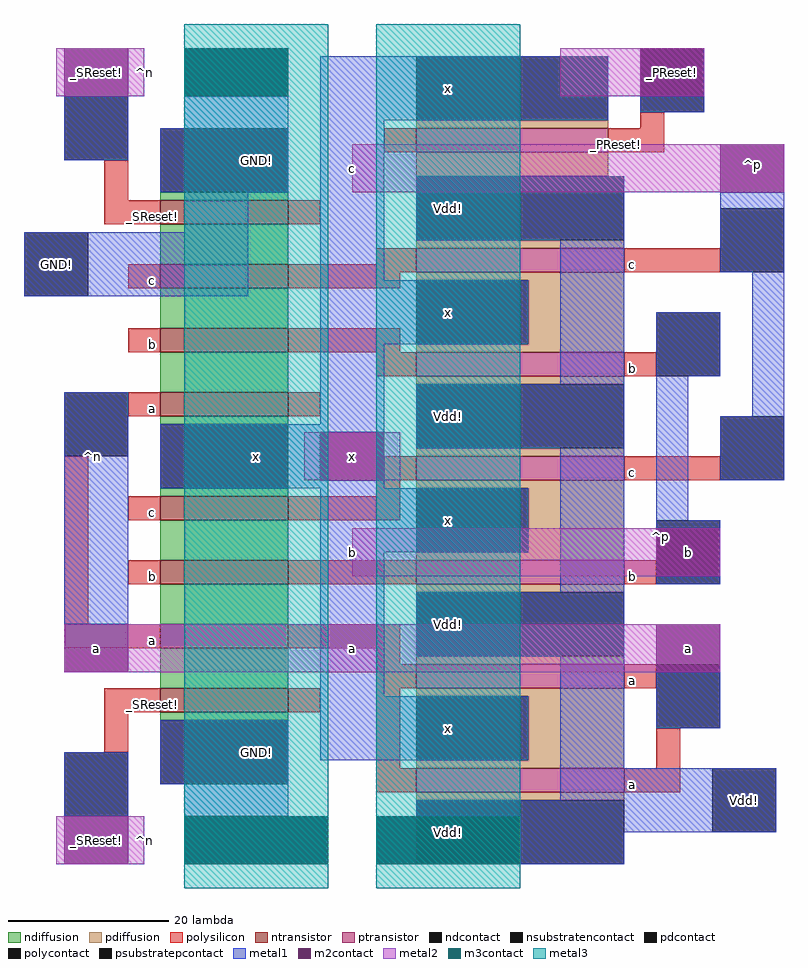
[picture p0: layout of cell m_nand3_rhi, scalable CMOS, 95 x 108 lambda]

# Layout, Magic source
magic
tech scmos
<< ndiffusion >>
rect -24 77 -8 78
rect -24 69 -8 74
rect -24 61 -8 66
rect -24 53 -8 58
rect -24 49 -8 50
rect -24 40 -8 41
rect -24 32 -8 37
rect -24 24 -8 29
rect -24 16 -8 21
rect -24 12 -8 13
<< pdiffusion >>
rect 8 86 32 87
rect 8 80 32 83
rect 8 71 34 72
rect 8 67 34 68
rect 22 59 34 67
rect 8 58 34 59
rect 8 54 34 55
rect 8 45 34 46
rect 8 41 34 42
rect 22 33 34 41
rect 8 32 34 33
rect 8 28 34 29
rect 8 19 34 20
rect 8 15 34 16
rect 22 7 34 15
rect 8 6 34 7
rect 8 2 34 3
<< ntransistor >>
rect -24 74 -8 77
rect -24 66 -8 69
rect -24 58 -8 61
rect -24 50 -8 53
rect -24 37 -8 40
rect -24 29 -8 32
rect -24 21 -8 24
rect -24 13 -8 16
<< ptransistor >>
rect 8 83 32 86
rect 8 68 34 71
rect 8 55 34 58
rect 8 42 34 45
rect 8 29 34 32
rect 8 16 34 19
rect 8 3 34 6
<< polysilicon >>
rect 36 86 39 88
rect -31 77 -28 82
rect 4 83 8 86
rect 32 83 39 86
rect -31 74 -24 77
rect -8 74 -4 77
rect 3 69 8 71
rect -28 66 -24 69
rect -8 68 8 69
rect 34 68 46 71
rect -8 66 6 68
rect -28 58 -24 61
rect -8 58 6 61
rect 3 55 8 58
rect 34 55 38 58
rect -28 50 -24 53
rect -8 50 -4 53
rect -36 24 -33 45
rect 3 42 8 45
rect 34 42 46 45
rect 3 40 6 42
rect -28 37 -24 40
rect -8 37 6 40
rect -28 29 -24 32
rect -8 29 8 32
rect 34 29 38 32
rect -36 21 -24 24
rect -8 21 6 24
rect 3 19 6 21
rect 3 16 8 19
rect 34 16 38 19
rect -31 13 -24 16
rect -8 13 -4 16
rect -31 8 -28 13
rect 3 6 6 16
rect 38 6 41 11
rect 3 3 8 6
rect 34 3 41 6
<< ndcontact >>
rect -24 78 -8 86
rect -24 41 -8 49
rect -24 4 -8 12
<< pdcontact >>
rect 8 87 32 95
rect 8 72 34 80
rect 8 59 22 67
rect 8 46 34 54
rect 8 33 22 41
rect 8 20 34 28
rect 8 7 22 15
rect 8 -6 34 2
<< psubstratepcontact >>
rect -41 65 -33 73
<< nsubstratencontact >>
rect 45 -2 53 6
<< polycontact >>
rect -36 82 -28 90
rect 36 88 44 96
rect 46 68 54 76
rect 38 55 46 63
rect -36 45 -28 53
rect 46 42 54 50
rect 38 29 46 37
rect -36 0 -28 8
rect 38 11 46 19
<< metal1 >>
rect -36 82 -28 90
rect -21 86 -8 90
rect -24 78 -8 86
rect -4 87 32 95
rect 36 88 44 90
rect -21 73 -13 78
rect -41 65 -13 73
rect -4 67 4 87
rect 8 72 34 80
rect -4 59 22 67
rect -36 24 -28 53
rect -4 49 4 59
rect 26 54 34 72
rect 46 68 54 78
rect -24 48 4 49
rect -24 42 -4 48
rect 8 46 34 54
rect -24 41 4 42
rect -4 33 22 41
rect -4 15 4 33
rect 26 28 34 46
rect 38 55 46 63
rect 38 37 42 55
rect 50 50 54 68
rect 46 42 54 50
rect 38 36 46 37
rect 38 29 46 30
rect 8 20 34 28
rect -36 0 -28 8
rect -24 4 -8 12
rect -4 7 22 15
rect -21 0 -8 4
rect 26 6 34 20
rect 38 11 46 18
rect 26 2 53 6
rect 8 0 53 2
rect 21 -2 53 0
rect 21 -6 34 -2
<< m2contact >>
rect -36 90 -28 96
rect -21 90 -8 96
rect 36 90 44 96
rect 46 78 54 84
rect -4 42 4 48
rect -36 18 -28 24
rect 38 30 46 36
rect -36 -6 -28 0
rect 38 18 46 24
rect -21 -6 -3 0
rect 3 -6 21 0
<< metal2 >>
rect -37 90 -26 96
rect 26 90 44 96
rect 0 78 54 84
rect -6 42 6 48
rect 0 30 46 36
rect -36 18 46 24
rect -37 -6 -26 0
<< m3contact >>
rect -21 90 -8 96
rect -21 -6 -3 0
rect 3 -6 21 0
<< metal3 >>
rect -21 -9 -3 99
rect 3 -9 21 99
<< labels >>
rlabel m2contact 12 -2 12 -2 1 Vdd!
rlabel metal1 12 76 12 76 5 Vdd!
rlabel metal1 12 63 12 63 1 x
rlabel metal1 12 50 12 50 5 Vdd!
rlabel metal1 12 37 12 37 5 x
rlabel metal1 12 24 12 24 1 Vdd!
rlabel metal1 12 11 12 11 1 x
rlabel metal1 -12 45 -12 45 5 x
rlabel metal1 -12 82 -12 82 5 GND!
rlabel metal1 -12 8 -12 8 1 GND!
rlabel polysilicon -25 51 -25 51 3 a
rlabel polysilicon -25 22 -25 22 3 a
rlabel polysilicon -25 75 -25 75 1 _SReset!
rlabel polysilicon -25 14 -25 14 1 _SReset!
rlabel polysilicon -25 30 -25 30 1 b
rlabel polysilicon -25 59 -25 59 1 b
rlabel polysilicon -25 67 -25 67 1 c
rlabel polysilicon -25 38 -25 38 1 c
rlabel polysilicon 35 56 35 56 3 b
rlabel polysilicon 35 43 35 43 3 c
rlabel polysilicon 35 30 35 30 3 b
rlabel polysilicon 35 69 35 69 3 c
rlabel polysilicon 35 17 35 17 1 a
rlabel polysilicon 35 4 35 4 1 a
rlabel metal1 12 91 12 91 5 x
rlabel polysilicon 33 84 33 84 7 _PReset!
rlabel metal2 -32 -3 -32 -3 3 _SReset!
rlabel metal2 -32 93 -32 93 3 _SReset!
rlabel metal2 0 45 0 45 1 x
rlabel metal2 0 30 0 36 3 b
rlabel metal2 0 78 0 84 3 c
rlabel metal2 40 93 40 93 1 _PReset!
rlabel metal2 -26 -6 -26 0 3 ^n
rlabel metal2 -26 90 -26 96 3 ^n
rlabel space 22 -7 55 77 3 ^p
rlabel space 45 78 55 85 3 ^p
rlabel metal2 0 18 0 24 1 a
rlabel metal1 49 2 49 2 1 Vdd!
rlabel space -42 -7 -23 97 7 ^n
rlabel metal1 -37 69 -37 69 3 GND!
rlabel metal2 -32 21 -32 21 1 a
rlabel metal2 42 21 42 21 1 a
rlabel metal2 42 33 42 33 1 b
rlabel metal2 50 81 50 81 7 c
<< end >>
